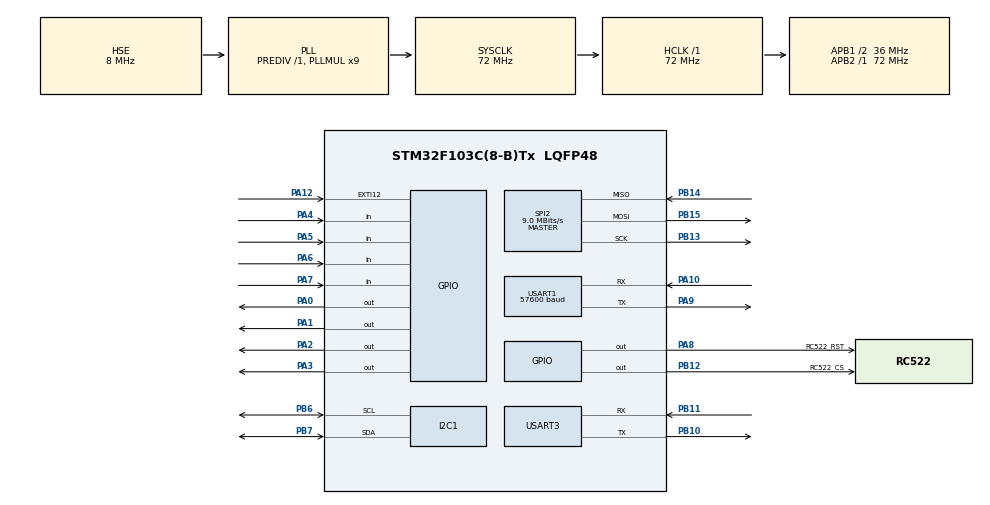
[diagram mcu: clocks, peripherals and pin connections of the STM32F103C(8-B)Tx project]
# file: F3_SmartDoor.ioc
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Dma.Request0=USART1_RX
Dma.USART1_RX.0.Direction=DMA_PERIPH_TO_MEMORY
Dma.USART1_RX.0.Instance=DMA1_Channel5
Dma.USART1_RX.0.MemDataAlignment=DMA_MDATAALIGN_BYTE
Dma.USART1_RX.0.MemInc=DMA_MINC_ENABLE
Dma.USART1_RX.0.Mode=DMA_NORMAL
Dma.USART1_RX.0.PeriphDataAlignment=DMA_PDATAALIGN_BYTE
Dma.USART1_RX.0.PeriphInc=DMA_PINC_DISABLE
Dma.USART1_RX.0.Priority=DMA_PRIORITY_LOW
FREERTOS.BinarySemaphores01=myBinarySem01,Dynamic,NULL
FREERTOS.INCLUDE_vTaskDelayUntil=1
FREERTOS.Queues01=Register,1,uint8_t,0,Dynamic,NULL,NULL;printfinger,1,uint8_t,0,Dynamic,NULL,NULL
FREERTOS.Tasks01=KeyPad,-1,128,StartDefaultTask,Default,NULL,Dynamic,NULL,NULL;RFID,0,128,StartTask02,Default,NULL,Dynamic,NULL,NULL;FingerPrinf,0,128,StartTask03,Default,NULL,Dynamic,NULL,NULL;INTERRUPT,1,256,StartTask04,Default,NULL,Dynamic,NULL,NULL
FREERTOS.configCHECK_FOR_STACK_OVERFLOW=0
FREERTOS.configTOTAL_HEAP_SIZE=12000
FREERTOS.configUSE_IDLE_HOOK=1
Mcu.Family=STM32F1
Mcu.Name=STM32F103C(8-B)Tx
Mcu.Package=LQFP48
NVIC.DMA1_Channel5_IRQn=true\:6\:0\:true\:false\:true\:true\:false\:true\:true
NVIC.PriorityGroup=NVIC_PRIORITYGROUP_4
NVIC.TIM2_IRQn=true\:0\:0\:false\:false\:true\:false\:false\:true\:true
NVIC.TimeBase=TIM2_IRQn
NVIC.TimeBaseIP=TIM2
NVIC.USART3_IRQn=true\:5\:0\:false\:false\:true\:true\:true\:true\:true
PA0-WKUP.Signal=GPIO_Output
PA1.Signal=GPIO_Output
PA10.Mode=Asynchronous
PA10.Signal=USART1_RX
PA12.GPIO_ModeDefaultEXTI=GPIO_MODE_IT_FALLING
PA12.GPIO_PuPd=GPIO_PULLUP
PA12.Signal=GPXTI12
PA13.Mode=Serial_Wire
PA13.Signal=SYS_JTMS-SWDIO
PA14.Mode=Serial_Wire
PA14.Signal=SYS_JTCK-SWCLK
PA2.Signal=GPIO_Output
PA3.Signal=GPIO_Output
PA4.GPIO_PuPd=GPIO_PULLUP
PA4.Signal=GPIO_Input
PA5.GPIO_PuPd=GPIO_PULLUP
PA5.Signal=GPIO_Input
PA6.GPIO_PuPd=GPIO_PULLUP
PA6.Signal=GPIO_Input
PA7.GPIO_PuPd=GPIO_PULLUP
PA7.Signal=GPIO_Input
PA8.GPIO_Label=RC522_RST
PA8.GPIO_PuPd=GPIO_NOPULL
PA8.GPIO_Speed=GPIO_SPEED_FREQ_LOW
PA8.Signal=GPIO_Output
PA9.Mode=Asynchronous
PA9.Signal=USART1_TX
PB10.Mode=Asynchronous
PB10.Signal=USART3_TX
PB11.Mode=Asynchronous
PB11.Signal=USART3_RX
PB12.GPIO_Label=RC522_CS
PB12.GPIO_PuPd=GPIO_NOPULL
PB12.GPIO_Speed=GPIO_SPEED_FREQ_LOW
PB12.Signal=GPIO_Output
PB13.Mode=Full_Duplex_Master
PB13.Signal=SPI2_SCK
PB14.Mode=Full_Duplex_Master
PB14.Signal=SPI2_MISO
PB15.Mode=Full_Duplex_Master
PB15.Signal=SPI2_MOSI
PB6.Mode=I2C
PB6.Signal=I2C1_SCL
PB7.Mode=I2C
PB7.Signal=I2C1_SDA
PD0-OSC_IN.Mode=HSE-External-Oscillator
PD0-OSC_IN.Signal=RCC_OSC_IN
PD1-OSC_OUT.Mode=HSE-External-Oscillator
PD1-OSC_OUT.Signal=RCC_OSC_OUT
ProjectManager.HeapSize=0x200
ProjectManager.StackSize=0x400
ProjectManager.TargetToolchain=STM32CubeIDE
RCC.AHBFreq_Value=72000000
RCC.APB1CLKDivider=RCC_HCLK_DIV2
RCC.APB1Freq_Value=36000000
RCC.APB1TimFreq_Value=72000000
RCC.APB2Freq_Value=72000000
RCC.APB2TimFreq_Value=72000000
RCC.HCLKFreq_Value=72000000
RCC.PLLMUL=RCC_PLL_MUL9
RCC.PLLSourceVirtual=RCC_PLLSOURCE_HSE
RCC.SYSCLKFreq_VALUE=72000000
RCC.SYSCLKSource=RCC_SYSCLKSOURCE_PLLCLK
RCC.USBFreq_Value=72000000
SPI2.BaudRatePrescaler=SPI_BAUDRATEPRESCALER_4
SPI2.CalculateBaudRate=9.0 MBits/s
SPI2.Direction=SPI_DIRECTION_2LINES
SPI2.Mode=SPI_MODE_MASTER
SPI2.VirtualType=VM_MASTER
USART1.BaudRate=57600
USART1.VirtualMode=VM_ASYNC
USART3.VirtualMode=VM_ASYNC
VP_FREERTOS_VS_CMSIS_V1.Mode=CMSIS_V1
VP_SYS_VS_tim2.Mode=TIM2
VP_TIM3_VS_ClockSourceINT.Mode=Internal
board=custom

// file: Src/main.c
/* USER CODE BEGIN Header */
/**
 ******************************************************************************
 * @file           : main.c
 * @brief          : Main program body
 ******************************************************************************
 * @attention
 *
 * <h2><center>&copy; Copyright (c) 2023 STMicroelectronics.
 * All rights reserved.</center></h2>
 *
 * This software component is licensed by ST under BSD 3-Clause license,
 * the "License"; You may not use this file except in compliance with the
 * License. You may obtain a copy of the License at:
 *                        opensource.org/licenses/BSD-3-Clause
 *
 ******************************************************************************
 */
/* USER CODE END Header */

#include "main.h"
#include "cmsis_os.h"

/* USER CODE BEGIN Includes */
#include <string.h>
#include <stdio.h>
#include <vantay.h>
// #include <rfid.h>
#include <keypad.h>
#include <lcd_i2c.h>
#include "MFRC522.h"
/* USER CODE END Includes */

/* USER CODE BEGIN PD */
#define LCD_ADDR 0x4E

uint8_t data_winform = 0;
uint32_t start1, end1, ticks;
uint8_t register_FingerResult = FP_NOFINGER;
extern uint8_t IDFromFinger;
extern uint8_t CurrentNumberFinger;

uint8_t ack_fp[] = "N";
uint8_t ack_rfid[] = "M";
uint8_t ack_pass[] = "H";

char password[4] = {'1', '2', '3', '4'};
char getPassword[4];
char getPassword_temp1[4];
char getPassword_temp2[4];

uchar UID_1[5], UID_2[5], UID_3[5];
uchar str[16];
char fp_str[17] = {'\0'};
char str2[17] = {'\0'};
char str_it[17] = {'\0'};

/* USER CODE END PD */

I2C_HandleTypeDef hi2c1;

SPI_HandleTypeDef hspi2;

TIM_HandleTypeDef htim3;

UART_HandleTypeDef huart1;
UART_HandleTypeDef huart3;
DMA_HandleTypeDef hdma_usart1_rx;

osThreadId KeyPadHandle;
osThreadId RFIDHandle;
osThreadId FingerPrinfHandle;
osThreadId INTERRUPTHandle;
osMessageQId RegisterHandle;
osMessageQId printfingerHandle;
osSemaphoreId myBinarySem01Handle;
/* USER CODE BEGIN PV */
I2C_LCD_Handle_t LCD;
uint8_t f_recei[20];
/* USER CODE END PV */

void SystemClock_Config(void);
static void MX_GPIO_Init(void);
static void MX_DMA_Init(void);
static void MX_I2C1_Init(void);
static void MX_SPI2_Init(void);
static void MX_USART1_UART_Init(void);
static void MX_USART3_UART_Init(void);
static void MX_TIM3_Init(void);
void StartDefaultTask(void const * argument);
void StartTask02(void const * argument);
void StartTask03(void const * argument);
void StartTask04(void const * argument);

int main(void)
{

  /* MCU Configuration--------------------------------------------------------*/

  /* Reset of all peripherals, Initializes the Flash interface and the Systick. */
  HAL_Init();

  /* Configure the system clock */
  SystemClock_Config();

  /* Initialize all configured peripherals */
  MX_GPIO_Init();
  MX_DMA_Init();
  MX_I2C1_Init();
  MX_SPI2_Init();
  MX_USART1_UART_Init();
  MX_USART3_UART_Init();
  MX_TIM3_Init();

  /* Create the semaphores(s) */
  /* definition and creation of myBinarySem01 */
  osSemaphoreDef(myBinarySem01);
  myBinarySem01Handle = osSemaphoreCreate(osSemaphore(myBinarySem01), 1);

  /* Create the queue(s) */
  /* definition and creation of Register */
  osMessageQDef(Register, 1, uint8_t);
  RegisterHandle = osMessageCreate(osMessageQ(Register), NULL);

  /* definition and creation of printfinger */
  osMessageQDef(printfinger, 1, uint8_t);
  printfingerHandle = osMessageCreate(osMessageQ(printfinger), NULL);

  /* Create the thread(s) */
  /* definition and creation of KeyPad */
  osThreadDef(KeyPad, StartDefaultTask, osPriorityBelowNormal, 0, 128);
  KeyPadHandle = osThreadCreate(osThread(KeyPad), NULL);

  /* definition and creation of RFID */
//  osThreadDef(RFID, StartTask02, osPriorityNormal, 0, 128);
//  RFIDHandle = osThreadCreate(osThread(RFID), NULL);

  /* definition and creation of FingerPrinf */
//  osThreadDef(FingerPrinf, StartTask03, osPriorityNormal, 0, 128);
//  FingerPrinfHandle = osThreadCreate(osThread(FingerPrinf), NULL);

  /* definition and creation of INTERRUPT */
//  osThreadDef(INTERRUPT, StartTask04, osPriorityAboveNormal, 0, 256);
//  INTERRUPTHandle = osThreadCreate(osThread(INTERRUPT), NULL);

  /* USER CODE BEGIN RTOS_THREADS */
  keypad_init();
  MFRC522_Init();
  I2C_LCD_init(&LCD, &hi2c1, LCD_ADDR);
  // I2C_LCD_print_string(&LCD, "Press Ur Pass!");
  HAL_UART_Receive_IT(&huart3, &data_winform, 1);
  HAL_UARTEx_ReceiveToIdle_DMA(&huart1, f_recei, 20);
  __HAL_DMA_DISABLE_IT(&hdma_usart1_rx, DMA_IT_HT);
  /* add threads, ... */
  /* USER CODE END RTOS_THREADS */

  /* Start scheduler */
  osKernelStart();

  /* We should never get here as control is now taken by the scheduler */

  /* Infinite loop */
  while (1)
  {

  }
}

void SystemClock_Config(void)
{
  RCC_OscInitTypeDef RCC_OscInitStruct = {0};
  RCC_ClkInitTypeDef RCC_ClkInitStruct = {0};

  /** Initializes the CPU, AHB and APB busses clocks
  */
  RCC_OscInitStruct.OscillatorType = RCC_OSCILLATORTYPE_HSE;
  RCC_OscInitStruct.HSEState = RCC_HSE_ON;
  RCC_OscInitStruct.HSEPredivValue = RCC_HSE_PREDIV_DIV1;
  RCC_OscInitStruct.HSIState = RCC_HSI_ON;
  RCC_OscInitStruct.PLL.PLLState = RCC_PLL_ON;
  RCC_OscInitStruct.PLL.PLLSource = RCC_PLLSOURCE_HSE;
  RCC_OscInitStruct.PLL.PLLMUL = RCC_PLL_MUL9;
  if (HAL_RCC_OscConfig(&RCC_OscInitStruct) != HAL_OK)
  {
    Error_Handler();
  }
  /** Initializes the CPU, AHB and APB busses clocks
  */
  RCC_ClkInitStruct.ClockType = RCC_CLOCKTYPE_HCLK|RCC_CLOCKTYPE_SYSCLK
                              |RCC_CLOCKTYPE_PCLK1|RCC_CLOCKTYPE_PCLK2;
  RCC_ClkInitStruct.SYSCLKSource = RCC_SYSCLKSOURCE_PLLCLK;
  RCC_ClkInitStruct.AHBCLKDivider = RCC_SYSCLK_DIV1;
  RCC_ClkInitStruct.APB1CLKDivider = RCC_HCLK_DIV2;
  RCC_ClkInitStruct.APB2CLKDivider = RCC_HCLK_DIV1;

  if (HAL_RCC_ClockConfig(&RCC_ClkInitStruct, FLASH_LATENCY_2) != HAL_OK)
  {
    Error_Handler();
  }
}

static void MX_I2C1_Init(void)
{

  hi2c1.Instance = I2C1;
  hi2c1.Init.ClockSpeed = 100000;
  hi2c1.Init.DutyCycle = I2C_DUTYCYCLE_2;
  hi2c1.Init.OwnAddress1 = 0;
  hi2c1.Init.AddressingMode = I2C_ADDRESSINGMODE_7BIT;
  hi2c1.Init.DualAddressMode = I2C_DUALADDRESS_DISABLE;
  hi2c1.Init.OwnAddress2 = 0;
  hi2c1.Init.GeneralCallMode = I2C_GENERALCALL_DISABLE;
  hi2c1.Init.NoStretchMode = I2C_NOSTRETCH_DISABLE;
  if (HAL_I2C_Init(&hi2c1) != HAL_OK)
  {
    Error_Handler();
  }

}

static void MX_SPI2_Init(void)
{

  /* SPI2 parameter configuration*/
  hspi2.Instance = SPI2;
  hspi2.Init.Mode = SPI_MODE_MASTER;
  hspi2.Init.Direction = SPI_DIRECTION_2LINES;
  hspi2.Init.DataSize = SPI_DATASIZE_8BIT;
  hspi2.Init.CLKPolarity = SPI_POLARITY_LOW;
  hspi2.Init.CLKPhase = SPI_PHASE_1EDGE;
  hspi2.Init.NSS = SPI_NSS_SOFT;
  hspi2.Init.BaudRatePrescaler = SPI_BAUDRATEPRESCALER_4;
  hspi2.Init.FirstBit = SPI_FIRSTBIT_MSB;
  hspi2.Init.TIMode = SPI_TIMODE_DISABLE;
  hspi2.Init.CRCCalculation = SPI_CRCCALCULATION_DISABLE;
  hspi2.Init.CRCPolynomial = 10;
  if (HAL_SPI_Init(&hspi2) != HAL_OK)
  {
    Error_Handler();
  }

}

static void MX_TIM3_Init(void)
{

  TIM_ClockConfigTypeDef sClockSourceConfig = {0};
  TIM_MasterConfigTypeDef sMasterConfig = {0};

  htim3.Instance = TIM3;
  htim3.Init.Prescaler = 0;
  htim3.Init.CounterMode = TIM_COUNTERMODE_UP;
  htim3.Init.Period = 0;
  htim3.Init.ClockDivision = TIM_CLOCKDIVISION_DIV1;
  htim3.Init.AutoReloadPreload = TIM_AUTORELOAD_PRELOAD_DISABLE;
  if (HAL_TIM_Base_Init(&htim3) != HAL_OK)
  {
    Error_Handler();
  }
  sClockSourceConfig.ClockSource = TIM_CLOCKSOURCE_INTERNAL;
  if (HAL_TIM_ConfigClockSource(&htim3, &sClockSourceConfig) != HAL_OK)
  {
    Error_Handler();
  }
  sMasterConfig.MasterOutputTrigger = TIM_TRGO_RESET;
  sMasterConfig.MasterSlaveMode = TIM_MASTERSLAVEMODE_DISABLE;
  if (HAL_TIMEx_MasterConfigSynchronization(&htim3, &sMasterConfig) != HAL_OK)
  {
    Error_Handler();
  }

}

static void MX_USART1_UART_Init(void)
{

  huart1.Instance = USART1;
  huart1.Init.BaudRate = 57600;
  huart1.Init.WordLength = UART_WORDLENGTH_8B;
  huart1.Init.StopBits = UART_STOPBITS_1;
  huart1.Init.Parity = UART_PARITY_NONE;
  huart1.Init.Mode = UART_MODE_TX_RX;
  huart1.Init.HwFlowCtl = UART_HWCONTROL_NONE;
  huart1.Init.OverSampling = UART_OVERSAMPLING_16;
  if (HAL_UART_Init(&huart1) != HAL_OK)
  {
    Error_Handler();
  }

}

static void MX_USART3_UART_Init(void)
{

  huart3.Instance = USART3;
  huart3.Init.BaudRate = 115200;
  huart3.Init.WordLength = UART_WORDLENGTH_8B;
  huart3.Init.StopBits = UART_STOPBITS_1;
  huart3.Init.Parity = UART_PARITY_NONE;
  huart3.Init.Mode = UART_MODE_TX_RX;
  huart3.Init.HwFlowCtl = UART_HWCONTROL_NONE;
  huart3.Init.OverSampling = UART_OVERSAMPLING_16;
  if (HAL_UART_Init(&huart3) != HAL_OK)
  {
    Error_Handler();
  }

}

static void MX_DMA_Init(void)
{

  /* DMA controller clock enable */
  __HAL_RCC_DMA1_CLK_ENABLE();

  /* DMA interrupt init */
  /* DMA1_Channel5_IRQn interrupt configuration */
  HAL_NVIC_SetPriority(DMA1_Channel5_IRQn, 6, 0);
  HAL_NVIC_EnableIRQ(DMA1_Channel5_IRQn);

}

static void MX_GPIO_Init(void)
{
  GPIO_InitTypeDef GPIO_InitStruct = {0};

  /* GPIO Ports Clock Enable */
  __HAL_RCC_GPIOD_CLK_ENABLE();
  __HAL_RCC_GPIOA_CLK_ENABLE();
  __HAL_RCC_GPIOB_CLK_ENABLE();

  /*Configure GPIO pin Output Level */
  HAL_GPIO_WritePin(GPIOA, GPIO_PIN_0|GPIO_PIN_1|GPIO_PIN_2|GPIO_PIN_3
                          |RC522_RST_Pin, GPIO_PIN_RESET);

  /*Configure GPIO pin Output Level */
  HAL_GPIO_WritePin(RC522_CS_GPIO_Port, RC522_CS_Pin, GPIO_PIN_RESET);

  /*Configure GPIO pins : PA0 PA1 PA2 PA3
                           RC522_RST_Pin */
  GPIO_InitStruct.Pin = GPIO_PIN_0|GPIO_PIN_1|GPIO_PIN_2|GPIO_PIN_3
                          |RC522_RST_Pin;
  GPIO_InitStruct.Mode = GPIO_MODE_OUTPUT_PP;
  GPIO_InitStruct.Pull = GPIO_NOPULL;
  GPIO_InitStruct.Speed = GPIO_SPEED_FREQ_LOW;
  HAL_GPIO_Init(GPIOA, &GPIO_InitStruct);

  /*Configure GPIO pins : PA4 PA5 PA6 PA7 */
  GPIO_InitStruct.Pin = GPIO_PIN_4|GPIO_PIN_5|GPIO_PIN_6|GPIO_PIN_7;
  GPIO_InitStruct.Mode = GPIO_MODE_INPUT;
  GPIO_InitStruct.Pull = GPIO_PULLUP;
  HAL_GPIO_Init(GPIOA, &GPIO_InitStruct);

  /*Configure GPIO pin : RC522_CS_Pin */
  GPIO_InitStruct.Pin = RC522_CS_Pin;
  GPIO_InitStruct.Mode = GPIO_MODE_OUTPUT_PP;
  GPIO_InitStruct.Pull = GPIO_NOPULL;
  GPIO_InitStruct.Speed = GPIO_SPEED_FREQ_LOW;
  HAL_GPIO_Init(RC522_CS_GPIO_Port, &GPIO_InitStruct);

  /*Configure GPIO pin : PA12 */
  GPIO_InitStruct.Pin = GPIO_PIN_12;
  GPIO_InitStruct.Mode = GPIO_MODE_IT_FALLING;
  GPIO_InitStruct.Pull = GPIO_PULLUP;
  HAL_GPIO_Init(GPIOA, &GPIO_InitStruct);

}

/* USER CODE BEGIN 4 */
void HAL_UART_TxCpltCallback(UART_HandleTypeDef *huart)
{
  portBASE_TYPE xHigherPriorityTaskWoken = pdFALSE;
  if (huart->Instance == USART3)
  {
    xSemaphoreGiveFromISR(myBinarySem01Handle, &xHigherPriorityTaskWoken);
    xQueueSendFromISR(RegisterHandle, &data_winform, NULL);
    portEND_SWITCHING_ISR(xHigherPriorityTaskWoken);
  }
}
void HAL_UARTEx_RxEventCallback(UART_HandleTypeDef *huart, uint16_t Size)
{
    uint8_t data =  f_recei[9];
  HAL_UARTEx_ReceiveToIdle_DMA(&huart1, f_recei, 20);
  __HAL_DMA_DISABLE_IT(&hdma_usart1_rx, DMA_IT_HT);
  xQueueSendFromISR(printfingerHandle,&data,NULL);
  //  f_dest_len_r = Size;
}
/* USER CODE END 4 */

void StartDefaultTask(void const * argument)
{

  /* USER CODE BEGIN 5 */
  char key;
  uint8_t count = 0;
  /* Infinite loop */
  for (;;)
  {
    key = get_char();
//    I2C_LCD_display_clear(&LCD);
//    I2C_LCD_print_string(&LCD, "Press Ur Pass!");

    if (key != '*' && key != '#' && key != 'D' && key != 0 && key != 0x01 && key != 'A' && key != 'B')
    {
      I2C_LCD_display_clear(&LCD);
      I2C_LCD_print_string(&LCD, "Press Ur Pass!");
      getPassword[count] = key;
      vTaskDelay(100);
      for (uint8_t i = 0; i <= count; i++)
      {
        I2C_LCD_set_cursor(&LCD, 1, i);
        I2C_LCD_print_char(&LCD, '*');
      }
      count++;
      if (count == 4)
      {
        if (getPassword[0] == password[0] && getPassword[1] == password[1] &&
            getPassword[2] == password[2] && getPassword[3] == password[3])
        {
          I2C_LCD_display_clear(&LCD);
          I2C_LCD_set_cursor(&LCD, 0, 4);
          I2C_LCD_print_string(&LCD, "WELCOME!!");
          I2C_LCD_set_cursor(&LCD, 1, 4);
          I2C_LCD_print_string(&LCD, "WELCOME!!");
          vTaskDelay(2000);
          count = 0;
        }
        else
        {
          I2C_LCD_display_clear(&LCD);
          I2C_LCD_set_cursor(&LCD, 0, 1);
          I2C_LCD_print_string(&LCD, "Wrong Password");
          I2C_LCD_set_cursor(&LCD, 1, 1);
          I2C_LCD_print_string(&LCD, "Wrong Password");
          vTaskDelay(1000);
          I2C_LCD_display_clear(&LCD);
          count = 0;
        }
      }
    }

    osDelay(10);
  }
  /* USER CODE END 5 */
}

void StartTask02(void const * argument)
{
  /* USER CODE BEGIN StartTask02 */
  uint8_t status = MI_ERR;
  /* Infinite loop */
  for (;;)
  {
//    I2C_LCD_display_clear(&LCD);
//    I2C_LCD_print_string(&LCD, "Press Ur Pass!");
    status = MFRC522_Request(PICC_REQIDL, str);
    if (status == MI_OK)
    {
      status = MFRC522_Anticoll(str);
      if (status == MI_OK)
      {
        if ((UID_1[0] == str[0] && UID_1[1] == str[1] && UID_1[2] == str[2] && UID_1[3] == str[3] && UID_1[4] == str[4]) ||
            (UID_2[0] == str[0] && UID_2[1] == str[1] && UID_2[2] == str[2] && UID_2[3] == str[3] && UID_2[4] == str[4]) ||
            (UID_3[0] == str[0] && UID_3[1] == str[1] && UID_3[2] == str[2] && UID_3[3] == str[3] && UID_3[4] == str[4]))
        {
          I2C_LCD_display_clear(&LCD);
          I2C_LCD_set_cursor(&LCD, 0, 4);
          I2C_LCD_print_string(&LCD, "WELCOME!!");
          I2C_LCD_set_cursor(&LCD, 1, 4);
          I2C_LCD_print_string(&LCD, "WELCOME!!");
          vTaskDelay(2000);
        }
        else
        {
          I2C_LCD_display_clear(&LCD);
          I2C_LCD_set_cursor(&LCD, 0, 3);
          I2C_LCD_print_string(&LCD, "RFID Error!!");
          I2C_LCD_set_cursor(&LCD, 1, 3);
          I2C_LCD_print_string(&LCD, "RFID Error!!");
          vTaskDelay(1000);
        }
      }
    }
    osDelay(10);
  }
  /* USER CODE END StartTask02 */
}

void StartTask03(void const * argument)
{
  /* USER CODE BEGIN StartTask03 */
  uint8_t Result = FP_NOFINGER;
  /* Infinite loop */
  for (;;)
  {
    uint32_t time = HAL_GetTick();
    SendFPHeader();
    SendFPGetImage();
    uint32_t END = HAL_GetTick() - time;
    //  Result = CheckFPRespsone(12);
    if (xQueueReceive(printfingerHandle, &Result, 500) == pdPASS)
    {

      if (Result == FP_OK)
      {
        vTaskSuspend(RFIDHandle);
        vTaskSuspend(KeyPadHandle);
        SendFPHeader();
        //SendFPCreateCharFile1();
        SendFPDSearchFinger();
        //   Result = CheckFPRespsone(12);
        if (xQueueReceive(printfingerHandle, &Result, 800) == pdPASS)
        {

          if (Result == FP_OK)
          {
//            SendFPHeader();
//            SendFPDSearchFinger();
//            Result = CheckFPRespsone(16);
            I2C_LCD_display_clear(&LCD);
            I2C_LCD_set_cursor(&LCD, 0, 4);
            I2C_LCD_print_string(&LCD, "WELCOME!!");
            I2C_LCD_set_cursor(&LCD, 1, 4);
            I2C_LCD_print_string(&LCD, "WELCOME!!");
            vTaskDelay(2000);
            I2C_LCD_display_clear(&LCD);
          }
          else
          {
            I2C_LCD_display_clear(&LCD);
            I2C_LCD_set_cursor(&LCD, 0, 1);
            I2C_LCD_print_string(&LCD, "Finger Error!!");
            I2C_LCD_set_cursor(&LCD, 1, 1);
            I2C_LCD_print_string(&LCD, "Finger Error!!");
            vTaskDelay(2000);
            I2C_LCD_display_clear(&LCD);
          }

          I2C_LCD_print_string(&LCD, "Press Ur Pass!");
        }
      }

    }
    vTaskResume(KeyPadHandle);
    vTaskResume(RFIDHandle);

    osDelay(10);
  }
  /* USER CODE END StartTask03 */
}

void StartTask04(void const * argument)
{
  /* USER CODE BEGIN StartTask04 */
  uint8_t check_data;
  uint8_t r_counter = 0;
  char rc_key = 0;
  uint8_t status = 0;
  /* Infinite loop */
  for (;;)
  {
    if (xSemaphoreTake(myBinarySem01Handle, portMAX_DELAY) == pdPASS)
    {
        vTaskSuspendAll();
      if (xQueueReceive(RegisterHandle, &check_data, 10) == pdPASS)
      {
        if (check_data == 'A')
        {
          I2C_LCD_display_clear(&LCD);
          I2C_LCD_print_string(&LCD, "Register Finger");
          CurrentNumberFinger = GetNumberOfFinger();
          if (CurrentNumberFinger > 255)
          {
            CurrentNumberFinger = 1;
          }
          I2C_LCD_set_cursor(&LCD, 1, 0);
          sprintf(fp_str, "Number ID: %d", CurrentNumberFinger);
          I2C_LCD_print_string(&LCD, fp_str);
          register_FingerResult = RegistryNewFinger(CurrentNumberFinger + 1);

          if (register_FingerResult == FP_NOFINGER)
          {
            I2C_LCD_display_clear(&LCD);
            I2C_LCD_print_string(&LCD, "Finger Not Found");
            vTaskDelay(500);
          }
          else if (register_FingerResult == FP_OK)
          {
            I2C_LCD_display_clear(&LCD);
            I2C_LCD_print_string(&LCD, "Registry Finger");
            I2C_LCD_set_cursor(&LCD, 1, 5);
            I2C_LCD_print_string(&LCD, "DONE :>");
            vTaskDelay(1000);
          }
          else
          {
            I2C_LCD_display_clear(&LCD);
            I2C_LCD_set_cursor(&LCD, 0, 1);
            I2C_LCD_print_string(&LCD, "Finger Error!!");
            I2C_LCD_set_cursor(&LCD, 1, 1);
            I2C_LCD_print_string(&LCD, "Finger Error!!");
            vTaskDelay(500);
          }
        }
        else if (check_data == 'B')
        {
          // RFID
          I2C_LCD_display_clear(&LCD);
          I2C_LCD_set_cursor(&LCD, 0, 4);
          I2C_LCD_print_string(&LCD, "ADD RFID");
          HAL_Delay(700);
          I2C_LCD_display_clear(&LCD);
          I2C_LCD_print_string(&LCD, "Choose The Card");
          I2C_LCD_set_cursor(&LCD, 1, 0);
          I2C_LCD_print_string(&LCD, "To Replace:1,2,3");
          do
          {
            while ((rc_key = get_char()) == 0)
              ;
            if (rc_key == '1' || rc_key == '2' || rc_key == '3')
            {
              r_counter++;
            }

          } while (r_counter < 1);
          r_counter = 0;
          sprintf(str_it, "Your number: %x", rc_key);
          I2C_LCD_display_clear(&LCD);
          I2C_LCD_print_string(&LCD, str_it);
          HAL_Delay(1000);

          I2C_LCD_display_clear(&LCD);
          I2C_LCD_set_cursor(&LCD, 0, 2);
          I2C_LCD_print_string(&LCD, "Put Ur Card!!");
          I2C_LCD_set_cursor(&LCD, 1, 2);
          I2C_LCD_print_string(&LCD, "Put Ur Card!!");
          while ((status = MFRC522_Request(PICC_REQIDL, str)) != MI_OK)
          {
          }
          status = MFRC522_Anticoll(str);
          if (status == MI_OK)
          {
            sprintf(str2, "UID_%x: %x,%x,%x,%x", rc_key, str[0], str[1], str[2], str[3]);
            if (rc_key == '1')
            {
              UID_1[0] = str[0];
              UID_1[1] = str[1];
              UID_1[2] = str[2];
              UID_1[3] = str[3];
              UID_1[4] = str[4];
            }
            else if (rc_key == '2')
            {
              UID_2[0] = str[0];
              UID_2[1] = str[1];
              UID_2[2] = str[2];
              UID_2[3] = str[3];
              UID_2[4] = str[4];
            }
            else
            {
              UID_3[0] = str[0];
              UID_3[1] = str[1];
              UID_3[2] = str[2];
              UID_3[3] = str[3];
              UID_3[4] = str[4];
            }
            I2C_LCD_display_clear(&LCD);
            I2C_LCD_set_cursor(&LCD, 1, 0);
            I2C_LCD_print_string(&LCD, str2);
            vTaskDelay(2000);
          }
          else
          {
            I2C_LCD_display_clear(&LCD);
            I2C_LCD_set_cursor(&LCD, 0, 3);
            I2C_LCD_print_string(&LCD, "RFID Error!!");
            I2C_LCD_set_cursor(&LCD, 1, 3);
            I2C_LCD_print_string(&LCD, "RFID Error!!");
            vTaskDelay(1000);
          }
          HAL_UART_Transmit(&huart3, ack_rfid, 1, 1000);
        }
      }
      HAL_UART_Receive_IT(&huart3, &data_winform, 1);
      xTaskResumeAll();
    }

    osDelay(1);
  }
  /* USER CODE END StartTask04 */
}

void HAL_TIM_PeriodElapsedCallback(TIM_HandleTypeDef *htim)
{
  if (htim->Instance == TIM2) {
    HAL_IncTick();
  }
}

void Error_Handler(void)
{
}

/************************ (C) COPYRIGHT STMicroelectronics *****END OF FILE****/

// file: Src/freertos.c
/* USER CODE BEGIN Header */
/**
  ******************************************************************************
  * File Name          : freertos.c
  * Description        : Code for freertos applications
  ******************************************************************************
  * @attention
  *
  * <h2><center>&copy; Copyright (c) 2023 STMicroelectronics.
  * All rights reserved.</center></h2>
  *
  * This software component is licensed by ST under Ultimate Liberty license
  * SLA0044, the "License"; You may not use this file except in compliance with
  * the License. You may obtain a copy of the License at:
  *                             www.st.com/SLA0044
  *
  ******************************************************************************
  */
/* USER CODE END Header */

#include "FreeRTOS.h"
#include "task.h"
#include "main.h"

/* Hook prototypes */
void vApplicationIdleHook(void);

/* USER CODE BEGIN 2 */
__weak void vApplicationIdleHook( void )
{
   /* vApplicationIdleHook() will only be called if configUSE_IDLE_HOOK is set
   to 1 in FreeRTOSConfig.h. It will be called on each iteration of the idle
   task. It is essential that code added to this hook function never attempts
   to block in any way (for example, call xQueueReceive() with a block time
   specified, or call vTaskDelay()). If the application makes use of the
   vTaskDelete() API function (as this demo application does) then it is also
   important that vApplicationIdleHook() is permitted to return to its calling
   function, because it is the responsibility of the idle task to clean up
   memory allocated by the kernel to any task that has since been deleted. */
}
/* USER CODE END 2 */

/************************ (C) COPYRIGHT STMicroelectronics *****END OF FILE****/
